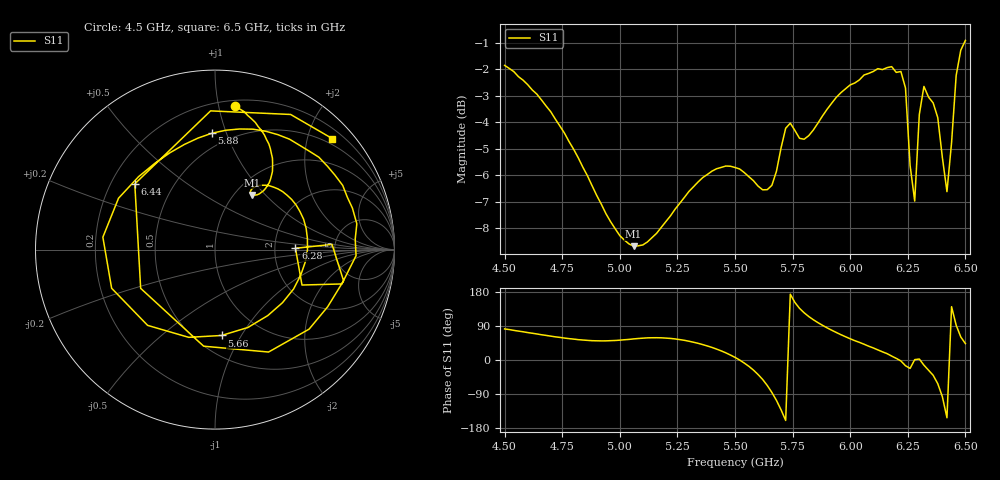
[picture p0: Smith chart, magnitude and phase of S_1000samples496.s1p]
! TOUCHSTONE file generated by CST MICROWAVE STUDIO
! Date and time: Fri Oct 28 09:01:13 2022
! Project name: L.cst
! Parameters = {Di=1.27; Epsilon_r=1.56; InnerDiameter=1.27; Length=2; Lf=10; Lg=60; OuterConductorThickness=0.2921; OuterDiameter=3.6; Wf=3; Wp=41.2; de=1.5; df=6.8; g=0.8; gx=0.771031; gy=4.91559; h=2.34; hf=1.524; px=13.1307; py=8.2082; w=9.7; wx=12.3596; wy=3.29261}
! Header version: 2018
! Port assignment regex: !\s*Touchstone port\s*([0-9]+)\s*=\s*(CST MWS port|CST DS port)\s*([0-9]+|Zmin|Zmax)\s*\(\"(.*)\"\)(\s*mode\s*([0-9]+))?.*
! Touchstone port assignment:
! Touchstone port 1 = CST MWS port 1 ("")
# GHz S DB R 50
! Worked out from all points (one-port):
!   101 points, 4.5 GHz to 6.5 GHz, reference 50 ohm
!   lowest |S11| = -8.7 dB at 5.06 GHz (marker M1), VSWR 2.17, Z = 60 + j42.3 ohm
!   |S11| at or under -10 dB: nowhere
!   S11 on the Smith chart (normalised r, x): 4.5 GHz: 0.24, +1.12; 5.66 GHz: 0.67, -0.83; 5.88 GHz: 0.40, +0.89; 6.28 GHz: 2.62, +0.05; 6.44 GHz: 0.30, +0.33; 6.5 GHz: 0.38, +2.46
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4.5  -1.86 82.0
4.76  -4.41 57.9
5  -8.27 52.4
5.06  -8.67 55.7
5.26  -7.06 53.9
5.4  -5.84 33.2
5.5  -5.70 7.0
5.58  -6.20 -26.6
5.66  -6.38 -85.6
5.7  -4.96 -131.6
5.72  -4.22 -159.5
5.76  -4.31 151.9
5.88  -3.76 91.5
6  -2.59 56.0
6.18  -1.90 10.3
6.22  -2.09 -2.5
6.26  -5.62 -22.2
6.28  -6.97 0.9
6.3  -3.71 2.6
6.32  -2.65 -13.6
6.36  -3.27 -40.2
6.38  -3.82 -62.4
6.4  -5.32 -96.7
6.42  -6.61 -152.5
6.44  -4.77 140.7
6.46  -2.23 91.8
6.48  -1.28 60.8
6.5  -0.92 43.4
